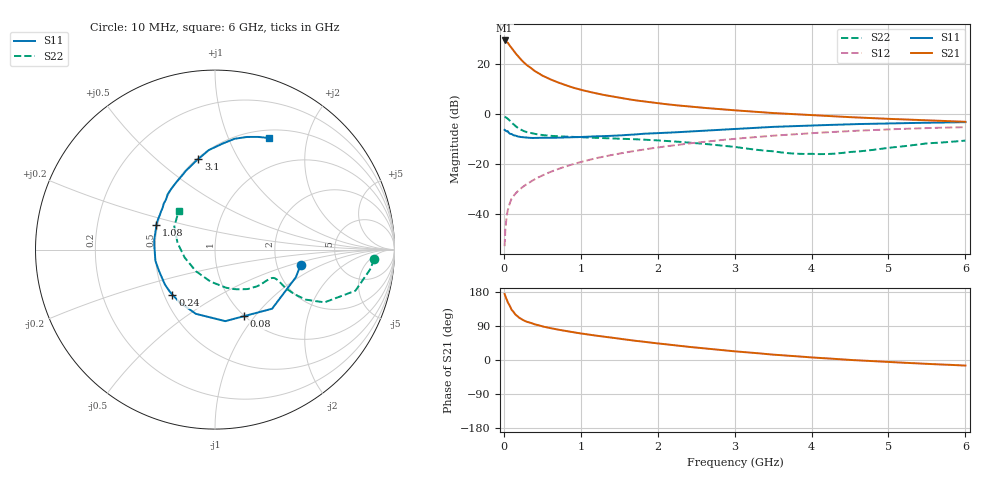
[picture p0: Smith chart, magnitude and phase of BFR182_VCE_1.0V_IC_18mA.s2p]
! Infineon Technologies  Discrete & RF Semiconductors
! BFR182
! VCE =  1.0 V,  IC =  18 mA
! Common Emitter S-Parameters:  Nov 2015
# GHz  S  MA  R  50
!  f  S11  S21  S12  S22
! GHz  MAG  ANG  MAG  ANG  MAG  ANG  MAG  ANG
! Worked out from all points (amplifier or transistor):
!   210 points, 10 MHz to 6 GHz, reference 50 ohm
!   highest |S21| = 29.4 dB at 10 MHz (marker M1)
!   |S21| within 3 dB of that: start of sweep to 101.6 MHz
!   unconditionally stable (mu >= 1): start of sweep to 12.18 MHz; 309.7 MHz to 3.859 GHz; 5.912 GHz to end of sweep
!   at 185 MHz: K = 0.81, MSG = 26.9 dB, |S12| = -30.7 dB
!   at 1.52 GHz: K = 1.17, MAG = 8.6 dB, |S12| = -15.7 dB
!   at 6 GHz: K = 1.00, MAG = 0.9 dB, |S12| = -5.2 dB
!   S11 on the Smith chart (normalised r, x): 10 MHz: 2.73, -0.60; 80 MHz: 1.00, -0.88; 240 MHz: 0.55, -0.32; 1.08 GHz: 0.49, +0.15; 3.1 GHz: 0.51, +0.70; 6 GHz: 0.60, +1.42
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0.01  0.4842 -10.0  29.57 174.1  0.0023 84.5  0.8878 -3.4
0.02  0.4763 -18.8  28.94 168.2  0.005 88.7  0.8733 -7.0
0.05  0.4579 -46.0  26.69 152.3  0.0118 74.7  0.8151 -16.3
0.08  0.4046 -66.4  23 141.7  0.0169 68.0  0.7302 -21.5
0.1  0.4027 -81.8  21.09 132.8  0.0204 65.4  0.6777 -25.7
0.15  0.3734 -106.6  16.57 119.7  0.0258 64.2  0.5758 -28.9
0.2  0.3539 -123.8  13.36 111.4  0.0306 63.8  0.5076 -29.3
0.24  0.346 -133.2  11.53 106.6  0.0345 64.0  0.4719 -28.9
0.26  0.3437 -137.5  10.77 104.4  0.0364 64.4  0.4576 -28.7
0.3  0.3402 -145.2  9.494 100.8  0.04 65.4  0.4359 -28.1
0.4  0.3339 -159.4  7.282 94.2  0.0497 67.4  0.4027 -26.6
0.5  0.3379 -169.3  5.883 88.6  0.0593 69.0  0.3804 -25.7
0.7  0.3389 176.9  4.31 80.2  0.0793 70.1  0.3608 -25.9
0.9  0.3445 166.2  3.372 73.1  0.1001 69.5  0.3502 -27.2
1.02  0.3502 159.6  3.009 69.5  0.1123 69.2  0.3433 -28.6
1.08  0.3546 157.3  2.859 67.7  0.1186 68.9  0.3402 -29.3
1.6  0.3838 138.1  2.003 53.5  0.1733 65.0  0.3207 -37.5
2.02  0.4184 125.3  1.637 43.4  0.2175 61.0  0.2968 -46.0
3.1  0.5132 100.4  1.161 21.3  0.3301 48.2  0.2105 -77.7
4.1  0.5981 84.7  0.936 5.6  0.4248 35.1  0.1588 -138.4
5.1  0.6561 73.1  0.793 -6.2  0.5016 21.9  0.2193 165.4
6  0.6905 64.2  0.702 -14.7  0.5482 9.2  0.2954 133.3
